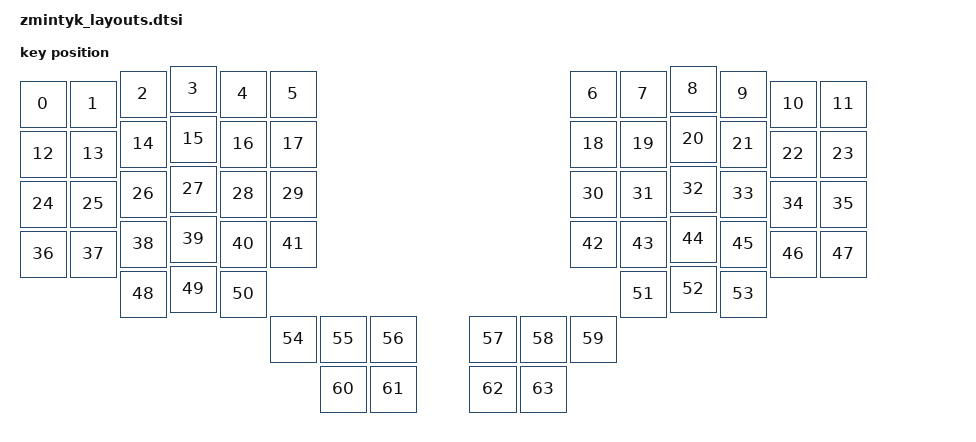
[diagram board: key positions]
#include <physical_layouts.dtsi>
#include <dt-bindings/zmk/matrix_transform.h>

/ {
  chosen {
    zmk,kscan = &kscan;
    zmk,physical-layout = &zmintyk_physical_layout;
    zmk,underglow = &led_strip;
  };
  zmintyk_physical_layout: zmintyk_physical_layout {
    compatible = "zmk,physical-layout";
    display-name = "zMintyk";
    
    transform = <&default_transform>;
    
    keys //                   w     h     x     y   rot  rx  ry
      //Left side
      = <&key_physical_attrs  100   100   0     30   0   0   0>
      , <&key_physical_attrs  100   100   100   30   0   0   0>
      , <&key_physical_attrs  100   100   200   10   0   0   0>
      , <&key_physical_attrs  100   100   300   0    0   0   0>
      , <&key_physical_attrs  100   100   400   10   0   0   0>
      , <&key_physical_attrs  100   100   500   10   0   0   0>
      
      , <&key_physical_attrs  100   100   1100   10   0   0   0>
      , <&key_physical_attrs  100   100   1200   10   0   0   0>
      , <&key_physical_attrs  100   100   1300   0   0   0   0>
      , <&key_physical_attrs  100   100   1400   10   0   0   0>
      , <&key_physical_attrs  100   100   1500   30   0   0   0>
      , <&key_physical_attrs  100   100   1600   30   0   0   0>
      
      , <&key_physical_attrs  100   100   0     130   0   0   0>
      , <&key_physical_attrs  100   100   100   130   0   0   0>
      , <&key_physical_attrs  100   100   200   110   0   0   0>
      , <&key_physical_attrs  100   100   300   100   0   0   0>
      , <&key_physical_attrs  100   100   400   110   0   0   0>
      , <&key_physical_attrs  100   100   500   110   0   0   0>
      
      , <&key_physical_attrs  100   100   1100   110   0   0   0>
      , <&key_physical_attrs  100   100   1200   110   0   0   0>
      , <&key_physical_attrs  100   100   1300   100   0   0   0>
      , <&key_physical_attrs  100   100   1400   110   0   0   0>
      , <&key_physical_attrs  100   100   1500   130   0   0   0>
      , <&key_physical_attrs  100   100   1600   130   0   0   0>
      
      , <&key_physical_attrs  100   100   0     230   0   0   0>
      , <&key_physical_attrs  100   100   100   230   0   0   0>
      , <&key_physical_attrs  100   100   200   210   0   0   0>
      , <&key_physical_attrs  100   100   300   200   0   0   0>
      , <&key_physical_attrs  100   100   400   210   0   0   0>
      , <&key_physical_attrs  100   100   500   210   0   0   0>
      
      , <&key_physical_attrs  100   100   1100   210   0   0   0>
      , <&key_physical_attrs  100   100   1200   210   0   0   0>
      , <&key_physical_attrs  100   100   1300   200   0   0   0>
      , <&key_physical_attrs  100   100   1400   210   0   0   0>
      , <&key_physical_attrs  100   100   1500   230   0   0   0>
      , <&key_physical_attrs  100   100   1600   230   0   0   0>
      
      , <&key_physical_attrs  100   100   0     330   0   0   0>
      , <&key_physical_attrs  100   100   100   330   0   0   0>
      , <&key_physical_attrs  100   100   200   310   0   0   0>
      , <&key_physical_attrs  100   100   300   300   0   0   0>
      , <&key_physical_attrs  100   100   400   310   0   0   0>
      , <&key_physical_attrs  100   100   500   310   0   0   0>
      
      , <&key_physical_attrs  100   100   1100  310   0   0   0>
      , <&key_physical_attrs  100   100   1200  310   0   0   0>
      , <&key_physical_attrs  100   100   1300  300   0   0   0>
      , <&key_physical_attrs  100   100   1400  310   0   0   0>
      , <&key_physical_attrs  100   100   1500  330   0   0   0>
      , <&key_physical_attrs  100   100   1600  330   0   0   0>
      
      , <&key_physical_attrs  100   100   200   410   0   0   0>
      , <&key_physical_attrs  100   100   300   400   0   0   0>
      , <&key_physical_attrs  100   100   400   410   0   0   0>

      , <&key_physical_attrs  100   100   1200   410   0   0   0>
      , <&key_physical_attrs  100   100   1300   400   0   0   0>
      , <&key_physical_attrs  100   100   1400   410   0   0   0>
      
      // Thumb Cluster
      , <&key_physical_attrs  100   100   500   500   0   0   0>
      , <&key_physical_attrs  100   100   600   500   0   0   0>
      , <&key_physical_attrs  100   100   700   500   0   0   0>
      , <&key_physical_attrs  100   100   900   500   0   0   0>
      , <&key_physical_attrs  100   100   1000  500   0   0   0>
      , <&key_physical_attrs  100   100   1100  500   0   0   0>
      , <&key_physical_attrs  100   100   600   600   0   0   0>
      , <&key_physical_attrs  100   100   700  600   0   0   0>
      , <&key_physical_attrs  100   100   900   600   0   0   0>
      , <&key_physical_attrs  100   100   1000   600   0   0   0>
      ;
  };

  position_map {
    compatible = "zmk,physical-layout-position-map";
    default_map {
      physical-layout = <&zmintyk_physical_layout>;
      positions 
        = < 0  1  2  3  4  5              6  7  8  9  10 11>
        , < 12 13 14 15 16 17             18 19 20 21 22 23>
        , < 24 25 26 27 28 29             30 31 32 33 34 35>
        , < 36 37 38 39 40 41             42 43 44 45 46 47>
        , <       48 49 50 51 52 53 54 55 56 57 58 59      >
        , <                   60 61 62 63                  >;
    };
  };
};
